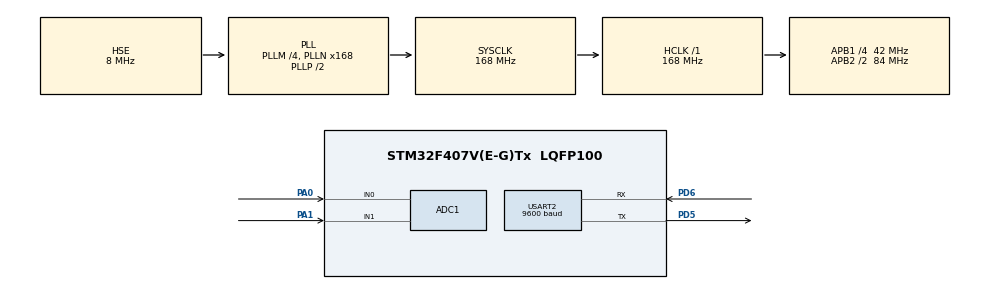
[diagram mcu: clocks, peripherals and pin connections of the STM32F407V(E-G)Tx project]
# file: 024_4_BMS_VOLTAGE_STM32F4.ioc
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ADC1.Channel-0\#ChannelRegularConversion=ADC_CHANNEL_0
ADC1.Channel-1\#ChannelRegularConversion=ADC_CHANNEL_1
ADC1.ContinuousConvMode=ENABLE
ADC1.DMAContinuousRequests=ENABLE
ADC1.InjNumberOfConversion=0
ADC1.NbrOfConversion=2
ADC1.NbrOfConversionFlag=1
ADC1.Rank-0\#ChannelRegularConversion=1
ADC1.Rank-1\#ChannelRegularConversion=2
ADC1.SamplingTime-0\#ChannelRegularConversion=ADC_SAMPLETIME_84CYCLES
ADC1.SamplingTime-1\#ChannelRegularConversion=ADC_SAMPLETIME_84CYCLES
ADC1.ScanConvMode=ENABLE
ADC1.master=1
Dma.ADC1.0.Direction=DMA_PERIPH_TO_MEMORY
Dma.ADC1.0.FIFOMode=DMA_FIFOMODE_DISABLE
Dma.ADC1.0.Instance=DMA2_Stream0
Dma.ADC1.0.MemDataAlignment=DMA_MDATAALIGN_HALFWORD
Dma.ADC1.0.MemInc=DMA_MINC_ENABLE
Dma.ADC1.0.Mode=DMA_CIRCULAR
Dma.ADC1.0.PeriphDataAlignment=DMA_PDATAALIGN_HALFWORD
Dma.ADC1.0.PeriphInc=DMA_PINC_DISABLE
Dma.ADC1.0.Priority=DMA_PRIORITY_VERY_HIGH
Dma.Request0=ADC1
Mcu.Family=STM32F4
Mcu.Name=STM32F407V(E-G)Tx
Mcu.Package=LQFP100
NVIC.DMA2_Stream0_IRQn=true\:0\:0\:false\:false\:true\:false\:true
NVIC.PriorityGroup=NVIC_PRIORITYGROUP_4
PA0-WKUP.Signal=ADCx_IN0
PA1.Signal=ADCx_IN1
PD5.Mode=Asynchronous
PD5.Signal=USART2_TX
PD6.Mode=Asynchronous
PD6.Signal=USART2_RX
PH0-OSC_IN.Mode=HSE-External-Oscillator
PH0-OSC_IN.Signal=RCC_OSC_IN
PH1-OSC_OUT.Mode=HSE-External-Oscillator
PH1-OSC_OUT.Signal=RCC_OSC_OUT
ProjectManager.HeapSize=0x200
ProjectManager.StackSize=0x400
ProjectManager.TargetToolchain=STM32CubeIDE
RCC.48MHZClocksFreq_Value=84000000
RCC.AHBFreq_Value=168000000
RCC.APB1CLKDivider=RCC_HCLK_DIV4
RCC.APB1Freq_Value=42000000
RCC.APB1TimFreq_Value=84000000
RCC.APB2CLKDivider=RCC_HCLK_DIV2
RCC.APB2Freq_Value=84000000
RCC.APB2TimFreq_Value=168000000
RCC.CortexFreq_Value=168000000
RCC.HCLKFreq_Value=168000000
RCC.HSE_VALUE=8000000
RCC.HSI_VALUE=16000000
RCC.LSE_VALUE=32768
RCC.PLLM=4
RCC.PLLN=168
RCC.PLLSourceVirtual=RCC_PLLSOURCE_HSE
RCC.SYSCLKFreq_VALUE=168000000
RCC.SYSCLKSource=RCC_SYSCLKSOURCE_PLLCLK
RCC.VCOOutputFreq_Value=336000000
SH.ADCx_IN0.0=ADC1_IN0,IN0
SH.ADCx_IN1.0=ADC1_IN1,IN1
USART2.BaudRate=9600
USART2.Mode=MODE_TX_RX
USART2.VirtualMode=VM_ASYNC
board=custom

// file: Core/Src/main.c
/* USER CODE BEGIN Header */
/**
  ******************************************************************************
  * @file           : main.c
  * @brief          : Main program body
  ******************************************************************************
  * @attention
  *
  * <h2><center>&copy; Copyright (c) 2021 STMicroelectronics.
  * All rights reserved.</center></h2>
  *
  * This software component is licensed by ST under BSD 3-Clause license,
  * the "License"; You may not use this file except in compliance with the
  * License. You may obtain a copy of the License at:
  *                        opensource.org/licenses/BSD-3-Clause
  *
  ******************************************************************************
  */
/* USER CODE END Header */
#include "main.h"

/* USER CODE BEGIN Includes */
#include "stdio.h"
#include "string.h"
/* USER CODE END Includes */

ADC_HandleTypeDef hadc1;
DMA_HandleTypeDef hdma_adc1;

UART_HandleTypeDef huart2;

/* USER CODE BEGIN PV */
uint16_t adc_value[2];
float test[2];
float dizi[3];
uint32_t i,j;
//float test;
char gonder[100] = "";
/* USER CODE END PV */

void SystemClock_Config(void);
static void MX_GPIO_Init(void);
static void MX_DMA_Init(void);
static void MX_ADC1_Init(void);
static void MX_USART2_UART_Init(void);

int main(void)
{

  /* MCU Configuration--------------------------------------------------------*/

  /* Reset of all peripherals, Initializes the Flash interface and the Systick. */
  HAL_Init();

  /* Configure the system clock */
  SystemClock_Config();

  /* Initialize all configured peripherals */
  MX_GPIO_Init();
  MX_DMA_Init();
  MX_ADC1_Init();
  MX_USART2_UART_Init();
  /* USER CODE BEGIN 2 */
  HAL_ADC_Start_DMA(&hadc1, (uint32_t*)adc_value, 3);
  /* USER CODE END 2 */

  /* Infinite loop */
  /* USER CODE BEGIN WHILE */
  while (1)
  {
	  test[0] = adc_value[0];
	  test[1] = adc_value[1];
	  dizi[0] = test[0] / 4095 * 3.1 / 100 / 2.5 * 10000;
	  dizi[1] = test[1] / 4095 * 3.9 / 9.31 * 1000;
	  dizi[2] = dizi[0] * 100 / 84;
	  sprintf(gonder, "%.2f,%.2f,%.2f,*", dizi[0], dizi[1], dizi[2]);

	  if(HAL_UART_Transmit(&huart2, (uint8_t *)gonder, strlen(gonder), 100)!=HAL_OK){
		  Error_Handler();
	  }
	  HAL_Delay(1000);
//	  for(j=0; j<3; j++)
//	  {
//		  deger[j] = adc_value[j];
//
//	  }
//	  j=0;
//	  for(i=0; i<3; i++)
//	  {
//		  CEL[i] = deger[i] / 4095 * 2.9 * 22650 / 650;
//
//	  }
//	  i=0;
//	  CEL[1] = deger[1] * 4095;
//	  test = deger[1] / 4095;

    /* USER CODE END WHILE */

  }
}

void SystemClock_Config(void)
{
  RCC_OscInitTypeDef RCC_OscInitStruct = {0};
  RCC_ClkInitTypeDef RCC_ClkInitStruct = {0};

  /** Configure the main internal regulator output voltage
  */
  __HAL_RCC_PWR_CLK_ENABLE();
  __HAL_PWR_VOLTAGESCALING_CONFIG(PWR_REGULATOR_VOLTAGE_SCALE1);
  /** Initializes the RCC Oscillators according to the specified parameters
  * in the RCC_OscInitTypeDef structure.
  */
  RCC_OscInitStruct.OscillatorType = RCC_OSCILLATORTYPE_HSE;
  RCC_OscInitStruct.HSEState = RCC_HSE_ON;
  RCC_OscInitStruct.PLL.PLLState = RCC_PLL_ON;
  RCC_OscInitStruct.PLL.PLLSource = RCC_PLLSOURCE_HSE;
  RCC_OscInitStruct.PLL.PLLM = 4;
  RCC_OscInitStruct.PLL.PLLN = 168;
  RCC_OscInitStruct.PLL.PLLP = RCC_PLLP_DIV2;
  RCC_OscInitStruct.PLL.PLLQ = 4;
  if (HAL_RCC_OscConfig(&RCC_OscInitStruct) != HAL_OK)
  {
    Error_Handler();
  }
  /** Initializes the CPU, AHB and APB buses clocks
  */
  RCC_ClkInitStruct.ClockType = RCC_CLOCKTYPE_HCLK|RCC_CLOCKTYPE_SYSCLK
                              |RCC_CLOCKTYPE_PCLK1|RCC_CLOCKTYPE_PCLK2;
  RCC_ClkInitStruct.SYSCLKSource = RCC_SYSCLKSOURCE_PLLCLK;
  RCC_ClkInitStruct.AHBCLKDivider = RCC_SYSCLK_DIV1;
  RCC_ClkInitStruct.APB1CLKDivider = RCC_HCLK_DIV4;
  RCC_ClkInitStruct.APB2CLKDivider = RCC_HCLK_DIV2;

  if (HAL_RCC_ClockConfig(&RCC_ClkInitStruct, FLASH_LATENCY_5) != HAL_OK)
  {
    Error_Handler();
  }
}

static void MX_ADC1_Init(void)
{

  ADC_ChannelConfTypeDef sConfig = {0};

  /** Configure the global features of the ADC (Clock, Resolution, Data Alignment and number of conversion)
  */
  hadc1.Instance = ADC1;
  hadc1.Init.ClockPrescaler = ADC_CLOCK_SYNC_PCLK_DIV4;
  hadc1.Init.Resolution = ADC_RESOLUTION_12B;
  hadc1.Init.ScanConvMode = ENABLE;
  hadc1.Init.ContinuousConvMode = ENABLE;
  hadc1.Init.DiscontinuousConvMode = DISABLE;
  hadc1.Init.ExternalTrigConvEdge = ADC_EXTERNALTRIGCONVEDGE_NONE;
  hadc1.Init.ExternalTrigConv = ADC_SOFTWARE_START;
  hadc1.Init.DataAlign = ADC_DATAALIGN_RIGHT;
  hadc1.Init.NbrOfConversion = 2;
  hadc1.Init.DMAContinuousRequests = ENABLE;
  hadc1.Init.EOCSelection = ADC_EOC_SINGLE_CONV;
  if (HAL_ADC_Init(&hadc1) != HAL_OK)
  {
    Error_Handler();
  }
  /** Configure for the selected ADC regular channel its corresponding rank in the sequencer and its sample time.
  */
  sConfig.Channel = ADC_CHANNEL_0;
  sConfig.Rank = 1;
  sConfig.SamplingTime = ADC_SAMPLETIME_84CYCLES;
  if (HAL_ADC_ConfigChannel(&hadc1, &sConfig) != HAL_OK)
  {
    Error_Handler();
  }
  /** Configure for the selected ADC regular channel its corresponding rank in the sequencer and its sample time.
  */
  sConfig.Channel = ADC_CHANNEL_1;
  sConfig.Rank = 2;
  if (HAL_ADC_ConfigChannel(&hadc1, &sConfig) != HAL_OK)
  {
    Error_Handler();
  }

}

static void MX_USART2_UART_Init(void)
{

  huart2.Instance = USART2;
  huart2.Init.BaudRate = 9600;
  huart2.Init.WordLength = UART_WORDLENGTH_8B;
  huart2.Init.StopBits = UART_STOPBITS_1;
  huart2.Init.Parity = UART_PARITY_NONE;
  huart2.Init.Mode = UART_MODE_TX_RX;
  huart2.Init.HwFlowCtl = UART_HWCONTROL_NONE;
  huart2.Init.OverSampling = UART_OVERSAMPLING_16;
  if (HAL_UART_Init(&huart2) != HAL_OK)
  {
    Error_Handler();
  }

}

static void MX_DMA_Init(void)
{

  /* DMA controller clock enable */
  __HAL_RCC_DMA2_CLK_ENABLE();

  /* DMA interrupt init */
  /* DMA2_Stream0_IRQn interrupt configuration */
  HAL_NVIC_SetPriority(DMA2_Stream0_IRQn, 0, 0);
  HAL_NVIC_EnableIRQ(DMA2_Stream0_IRQn);

}

static void MX_GPIO_Init(void)
{

  /* GPIO Ports Clock Enable */
  __HAL_RCC_GPIOH_CLK_ENABLE();
  __HAL_RCC_GPIOA_CLK_ENABLE();
  __HAL_RCC_GPIOD_CLK_ENABLE();

}

void Error_Handler(void)
{
  __disable_irq();
  while (1)
  {
  }
}

/************************ (C) COPYRIGHT STMicroelectronics *****END OF FILE****/
